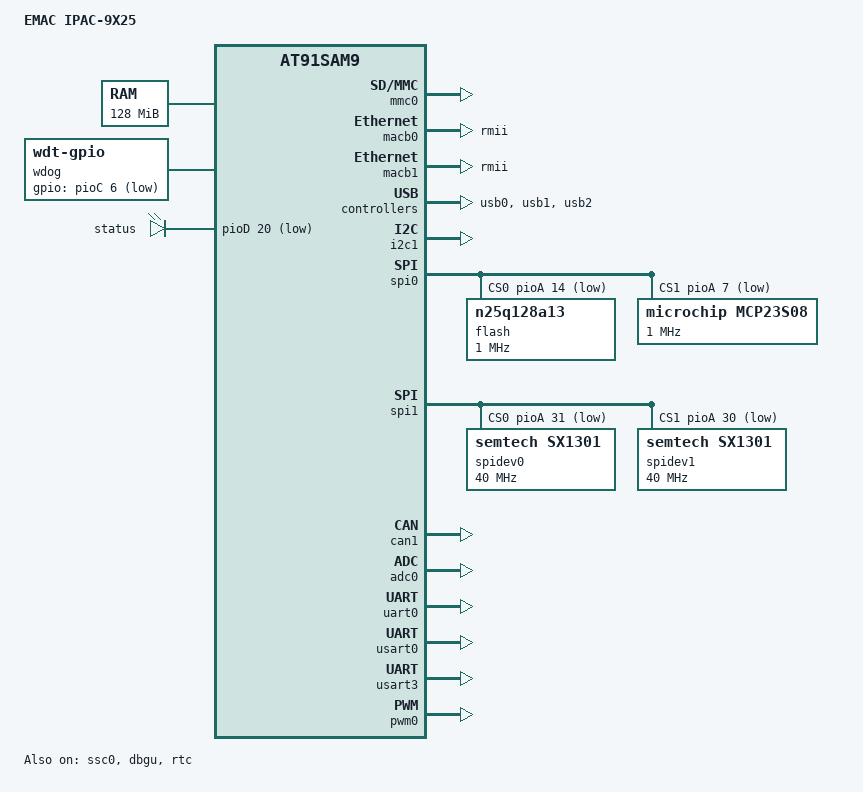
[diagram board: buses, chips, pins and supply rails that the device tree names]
/*
 * ipac-9x25.dts - Device Tree file for the iPac-9x25.
 *
 *  Copyright (C) 2014 EMAC Inc.
 *
 * Licensed under GPLv2 or later.
 */
/dts-v1/;
#include "at91sam9x25.dtsi"

/ {
	model = "EMAC IPAC-9X25";
	compatible = "atmel,at91sam9x25ek", "atmel,at91sam9x5ek", "atmel,at91sam9x5", "atmel,at91sam9";

	aliases {
		serial0 = &usart3;
		serial1 = &usart0;
		serial3 = &uart0;
		serial5 = &dbgu;
		spi0 = &spi0;
		spi1 = &spi1;
	};

	chosen {
		bootargs = "root=/dev/mmcblk0p1 rootfstype=ext4 rw rootwait";
		stdout-path = "serial5:115200n8";
	};

	memory@20000000 {
		reg = <0x20000000 0x8000000>;
	};

	clocks {
		#address-cells = <1>;
		#size-cells = <1>;
		ranges;

		slow_xtal {
			clock-frequency = <32768>;
		};

		main_xtal {
			clock-frequency = <12000000>;
		};
	};
	
	wdog: watchdog {
		/* MAX6747 */
		compatible = "linux,wdt-gpio";
		pinctrl-names = "default";
		pinctrl-0 = <&pinctrl_wdt>;
		gpios = <&pioC 6 GPIO_ACTIVE_LOW>;
		hw_algo = "toggle";
		always-running;
		hw_margin_ms = <1000>;
	};

	ahb {
		apb {
			pinctrl@fffff400 {
				pinctrl-names = "default";
				pinctrl-0 = <&pinctrl_board_gpio>;
				adc0 {
					pinctrl_adc0: adc0-board {
						atmel,pins =
							<AT91_PIOB 11 AT91_PERIPH_A AT91_PINCTRL_NONE
							 AT91_PIOB 12 AT91_PERIPH_A AT91_PINCTRL_NONE
							 AT91_PIOB 13 AT91_PERIPH_A AT91_PINCTRL_NONE
							 AT91_PIOB 14 AT91_PERIPH_A AT91_PINCTRL_NONE
							 AT91_PIOB 15 AT91_PERIPH_A AT91_PINCTRL_NONE
							 AT91_PIOB 16 AT91_PERIPH_A AT91_PINCTRL_NONE
							 AT91_PIOB 17 AT91_PERIPH_A AT91_PINCTRL_NONE>;
					};
				};

				gpio {
					pinctrl_board_gpio: gpio0-board {
						atmel,pins =
							<AT91_PIOD 0 AT91_PERIPH_GPIO AT91_PINCTRL_PULL_UP
							 AT91_PIOD 1 AT91_PERIPH_GPIO AT91_PINCTRL_PULL_UP
							 AT91_PIOD 2 AT91_PERIPH_GPIO AT91_PINCTRL_PULL_UP
							 AT91_PIOD 3 AT91_PERIPH_GPIO AT91_PINCTRL_PULL_UP
							 AT91_PIOD 4 AT91_PERIPH_GPIO AT91_PINCTRL_PULL_UP
							 AT91_PIOD 5 AT91_PERIPH_GPIO AT91_PINCTRL_PULL_UP
							 AT91_PIOD 6 AT91_PERIPH_GPIO AT91_PINCTRL_PULL_UP
							 AT91_PIOD 7 AT91_PERIPH_GPIO AT91_PINCTRL_PULL_UP
							 AT91_PIOD 8 AT91_PERIPH_GPIO AT91_PINCTRL_PULL_UP
							 AT91_PIOD 9 AT91_PERIPH_GPIO AT91_PINCTRL_PULL_UP
							 AT91_PIOD 10 AT91_PERIPH_GPIO AT91_PINCTRL_PULL_UP
							 AT91_PIOD 11 AT91_PERIPH_GPIO AT91_PINCTRL_PULL_UP
							 AT91_PIOD 12 AT91_PERIPH_GPIO AT91_PINCTRL_PULL_UP
							 AT91_PIOD 13 AT91_PERIPH_GPIO AT91_PINCTRL_PULL_UP
							 AT91_PIOD 14 AT91_PERIPH_GPIO AT91_PINCTRL_PULL_UP
							 AT91_PIOD 15 AT91_PERIPH_GPIO AT91_PINCTRL_PULL_UP
							 AT91_PIOD 16 AT91_PERIPH_GPIO AT91_PINCTRL_PULL_UP
							 AT91_PIOD 17 AT91_PERIPH_GPIO AT91_PINCTRL_PULL_UP
							 AT91_PIOD 18 AT91_PERIPH_GPIO AT91_PINCTRL_PULL_UP
							 AT91_PIOD 19 AT91_PERIPH_GPIO AT91_PINCTRL_PULL_UP
							 AT91_PIOD 20 AT91_PERIPH_GPIO AT91_PINCTRL_PULL_UP
							 AT91_PIOD 21 AT91_PERIPH_GPIO AT91_PINCTRL_PULL_UP>;
					};
				};

				spi0 {
					pinctrl_spi0_cs: spi0-board {
						atmel,pins =
							<AT91_PIOA 7 AT91_PERIPH_GPIO AT91_PINCTRL_PULL_UP
							 AT91_PIOA 14 AT91_PERIPH_GPIO AT91_PINCTRL_PULL_UP>;
					};
				};

				spi1 {
					pinctrl_spi1_cs: spi1-board {
						atmel,pins =
							<AT91_PIOA 30 AT91_PERIPH_GPIO AT91_PINCTRL_PULL_UP
							 AT91_PIOA 31 AT91_PERIPH_GPIO AT91_PINCTRL_PULL_UP>;
					};
				};

				wdt_gpio {
					pinctrl_wdt: wdt-board {
						atmel,pins =
							<AT91_PIOC 6 AT91_PERIPH_GPIO AT91_PINCTRL_PULL_UP
							 AT91_PIOC 7 AT91_PERIPH_GPIO AT91_PINCTRL_PULL_UP>;
					};
				};

				led_gpio {
					pinctrl_led: led-board {
						atmel,pins =
							<AT91_PIOD 20 AT91_PERIPH_GPIO AT91_PINCTRL_NONE>;
					};
				};
			};
		};
	};

	gpio-leds {
		compatible = "gpio-leds";
		pinctrl-names = "default";
		pinctrl-0 = <&pinctrl_led>;
		led-stat {
			label = "status";
			gpios = <&pioD 20 1>;
			default-state = "on";
			linux,default-trigger = "none";
		};
	};
};

&mmc0 {
	pinctrl-names = "default";
	pinctrl-0 = <
		&pinctrl_mmc0_slot0_clk_cmd_dat0
		&pinctrl_mmc0_slot0_dat1_3>;
	status = "okay";
	slot@0 {
		reg = <0>;
		bus-width = <4>;
	};
};

&macb0 {
	phy-mode = "rmii";
	status = "okay";
};

&macb1 {
	phy-mode = "rmii";
	status = "okay";
};

&usb0 {
	num-ports = <3>;
	status = "okay";
};

&usb1 {
	status = "okay";
};

&usb2 {
	status = "okay";
};

&i2c1 {
	status = "okay";
};

&spi0 {
	pinctrl-name = "default";
	pinctrl-0 = <&pinctrl_spi0 &pinctrl_spi0_cs>;
	cs-gpios = <&pioA 14 GPIO_ACTIVE_LOW
			&pioA 7 GPIO_ACTIVE_LOW>;
	status = "okay";

	flash: m25p80@0 {
		compatible = "n25q128a13", "jedec,spi-nor";
		spi-max-frequency = <1000000>;
		reg = <0>;
		status = "okay";
	};

	mcp23s08: mcp23s08@1 {
		compatible = "microchip,mcp23s08";
		gpio-controller;
		#gpio-cells = <0x2>;
		reg = <1>;
		microchip,spi-present-mask = <0x07>;
		spi-max-frequency = <1000000>;
		pinctrl-names = "default";
		pinctrl-0 = <&gpio21pullups>;

		gpio21pullups: pinmux {
			pins =	"gpio0", "gpio1", "gpio2", "gpio3",
				"gpio4", "gpio5", "gpio6", "gpio7";
			bias-pull-up;
		};
	};
};

&spi1 {
	pinctrl-name = "default";
	pinctrl-0 = <&pinctrl_spi1 &pinctrl_spi1_cs>;
	cs-gpios = <&pioA 31 GPIO_ACTIVE_LOW
			&pioA 30 GPIO_ACTIVE_LOW>;
	status = "okay";

	spidev0: spidev@0 {
		compatible = "semtech,sx1301";
		spi-max-frequency = <40000000>;
		reg = <0>;
	};

	spidev1: spidev@1 {
		compatible = "semtech,sx1301";
		spi-max-frequency = <40000000>;
		reg = <1>;
	};
};

&can1 {
	status = "okay";
};

&adc0 {
	pinctrl-names = "default";
	pinctrl-0 = <&pinctrl_adc0>;
	status = "okay";
	atmel,adc-channels-used = <0x7f>;
};

&ssc0 {
	status = "okay";
};

&dbgu {
	status = "okay";
};

&uart0 {
	status = "okay";
};

&usart0 {
	pinctrl-0 = <&pinctrl_usart0 &pinctrl_usart0_rts &pinctrl_usart0_cts>;
	atmel,use-dma-rx;
	atmel,use-dma-tx;
	status = "okay";
};

&usart3 {
	pinctrl-0 = < &pinctrl_usart3 &pinctrl_usart3_rts &pinctrl_usart3_cts>;
	atmel,use-dma-rx;
	atmel,use-dma-tx;
	status = "okay";
};

&rtc {
	status = "okay";
};

&pwm0 {
	pinctrl-names = "default";
	pinctrl-0 = <&pinctrl_pwm0_pwm0_1 &pinctrl_pwm0_pwm1_1>;
	status = "okay";
};

&tcb0 {
	timer@0 {
		compatible = "atmel,tcb-timer";
		reg = <0>;
	};
};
